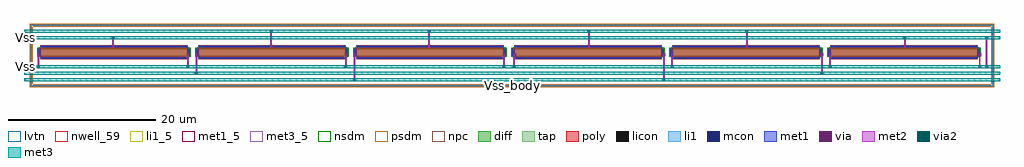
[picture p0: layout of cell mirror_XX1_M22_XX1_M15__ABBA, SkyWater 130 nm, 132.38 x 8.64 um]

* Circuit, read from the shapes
.subckt mirror_XX1_M22_XX1_M15__ABBA Vss Vss_body net4 x1_net7 x1_net8
XM1 Vss Vss Vss Vss_body sky130_fd_pr__nfet_01v8_lvt w=1 l=20 m=2
XM2 Vss net4 x1_net7 Vss_body sky130_fd_pr__nfet_01v8_lvt w=1 l=20 m=2
XM3 Vss net4 x1_net8 Vss_body sky130_fd_pr__nfet_01v8_lvt w=1 l=20 m=2
.ends

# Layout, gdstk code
from math import pi, radians
import gdstk
lib = gdstk.Library(unit=1e-6, precision=1e-09)
def R(c, l, rs):  # rectangles x0, y0, x1, y1
    for r in rs: c.add(gdstk.rectangle(r[:2], r[2:], *l))
def A(c, l, x, y, w, h, nx, ny, dx, dy):  # array of equal rectangles
    R(c, l, [(x+i*dx, y+j*dy, x+i*dx+w, y+j*dy+h) for i in range(nx) for j in range(ny)])
nwell_59 = (64, 59)
diff = (65, 20)
tap = (65, 44)
poly = (66, 20)
licon = (66, 44)
li1_5 = (67, 5)
li1 = (67, 20)
mcon = (67, 44)
met1_5 = (68, 5)
met1 = (68, 20)
via = (68, 44)
met2 = (69, 20)
via2 = (69, 44)
met3_5 = (70, 5)
met3 = (70, 20)
nsdm = (93, 44)
psdm = (94, 20)
npc = (95, 20)
lvtn = (125, 44)

sky130_fd_pr__nfet_01v8_ = lib.new_cell('sky130_fd_pr__nfet_01v8_lvt_YRHGMU')
R(sky130_fd_pr__nfet_01v8_, diff, [(-10.29,-0.5,10.29,0.5)])
R(sky130_fd_pr__nfet_01v8_, poly, [(-10,-0.94,10,0.94)])
A(sky130_fd_pr__nfet_01v8_, licon, -9.775, -0.86, 0.17, 0.17, 58, 2, 0.34, 1.55)
A(sky130_fd_pr__nfet_01v8_, licon, -10.23, -0.425, 0.17, 0.17, 1, 3, 0, 0.34)
A(sky130_fd_pr__nfet_01v8_, licon, 10.06, -0.425, 0.17, 0.17, 1, 3, 0, 0.34)
R(sky130_fd_pr__nfet_01v8_, li1, [(-10,-0.86,10,-0.69), (-10.23,-0.52,-10.06,0.52), (10.06,-0.52,10.23,0.52), (-10,0.69,10,0.86)])
A(sky130_fd_pr__nfet_01v8_, mcon, -9.805, -0.86, 0.17, 0.17, 55, 2, 0.36, 1.55)
R(sky130_fd_pr__nfet_01v8_, mcon, [(-10.23,-0.265,-10.06,-0.095), (10.06,-0.265,10.23,-0.095), (-10.23,0.095,-10.06,0.265), (10.06,0.095,10.23,0.265)])
R(sky130_fd_pr__nfet_01v8_, met1, [(-9.98,-0.89,9.98,-0.66), (-10.26,-0.5,-10.03,0.5), (10.03,-0.5,10.26,0.5), (-9.98,0.66,9.98,0.89)])
R(sky130_fd_pr__nfet_01v8_, nsdm, [(-10.415,-0.625,10.415,0.625)])
R(sky130_fd_pr__nfet_01v8_, npc, [(-9.875,-0.96,9.875,-0.59), (-9.875,0.59,9.875,0.96)])
R(sky130_fd_pr__nfet_01v8_, lvtn, [(-10.18,-0.68,10.18,0.68)])
sky130_fd_pr__nfet_01v8_.add(gdstk.Label('D', (-10.145,0), layer=67, texttype=5))
sky130_fd_pr__nfet_01v8_.add(gdstk.Label('S', (10.145,0), layer=67, texttype=5))
sky130_fd_pr__nfet_01v8_.add(gdstk.Label('G', (0,0.775), layer=67, texttype=5))

nfet_01v8_lvt_w1_l20_m2_ = lib.new_cell('nfet_01v8_lvt_W1_L20_m2__nf1_gboth_sdfull_ng')
R(nfet_01v8_lvt_w1_l20_m2_, nwell_59, [(0.05,0.89,0.15,0.99)])
R(nfet_01v8_lvt_w1_l20_m2_, met1_5, [(0.03,0.94,0.26,1.14), (20.32,0.94,20.55,1.14), (0.31,1.6,20.27,1.83)])
R(nfet_01v8_lvt_w1_l20_m2_, met1, [(0.03,0.94,0.26,1.14), (20.32,0.94,20.55,1.14), (0.31,1.6,20.27,1.83)])
nfet_01v8_lvt_w1_l20_m2_.add(gdstk.Reference(sky130_fd_pr__nfet_01v8_, (10.29,0.94)))
nfet_01v8_lvt_w1_l20_m2_.add(gdstk.Label('D', (0.145,1.04), layer=68, texttype=5))
nfet_01v8_lvt_w1_l20_m2_.add(gdstk.Label('S', (20.435,1.04), layer=68, texttype=5))
nfet_01v8_lvt_w1_l20_m2_.add(gdstk.Label('G', (10.29,1.715), layer=68, texttype=5))
nfet_01v8_lvt_w1_l20_m2_.add(gdstk.Label('B', (0.1,0.94), layer=64, texttype=59))

mirror_xx1_m22_xx1_m15__ = lib.new_cell('mirror_XX1_M22_XX1_M15__ABBA')
R(mirror_xx1_m22_xx1_m15__, tap, [(-0.885,-3.685,129.665,-3.515), (-0.885,-3.515,-0.715,4.535), (129.495,-3.515,129.665,4.535), (-0.885,4.535,129.665,4.705)])
A(mirror_xx1_m22_xx1_m15__, licon, -0.465, -3.685, 0.17, 0.17, 382, 2, 0.34, 8.22)
A(mirror_xx1_m22_xx1_m15__, licon, -0.885, -3.315, 0.17, 0.17, 1, 23, 0, 0.34)
A(mirror_xx1_m22_xx1_m15__, licon, 129.495, -3.315, 0.17, 0.17, 1, 23, 0, 0.34)
R(mirror_xx1_m22_xx1_m15__, li1_5, [(64.34,-3.65,64.44,-3.55)])
R(mirror_xx1_m22_xx1_m15__, li1, [(-0.885,-3.685,129.665,-3.515), (-0.885,-3.515,-0.715,4.535), (129.495,-3.515,129.665,4.535), (-0.885,4.535,129.665,4.705)])
A(mirror_xx1_m22_xx1_m15__, met1, 10.11, 1.63, 0.36, 0.36, 3, 1, 21.43, 0)
A(mirror_xx1_m22_xx1_m15__, met1, 74.65, 1.63, 0.36, 0.36, 3, 1, 21.43, 0)
R(mirror_xx1_m22_xx1_m15__, met1, [(-0.035,0.44,0.325,0.8), (20.255,0.44,20.615,0.8), (21.395,0.44,21.755,0.8), (41.685,0.44,42.045,0.8), (42.825,0.44,43.185,0.8), (63.115,0.44,63.475,0.8), (64.505,0.44,64.865,0.8), (84.795,0.44,85.155,0.8), (85.935,0.44,86.295,0.8), (106.225,0.44,106.585,0.8), (107.365,0.44,107.725,0.8), (127.655,0.44,128.015,0.8)])
A(mirror_xx1_m22_xx1_m15__, via, 10.215, 1.735, 0.15, 0.15, 3, 1, 21.43, 0)
A(mirror_xx1_m22_xx1_m15__, via, 74.755, 1.735, 0.15, 0.15, 3, 1, 21.43, 0)
R(mirror_xx1_m22_xx1_m15__, via, [(0.07,0.545,0.22,0.695), (20.36,0.545,20.51,0.695), (21.5,0.545,21.65,0.695), (41.79,0.545,41.94,0.695), (42.93,0.545,43.08,0.695), (63.22,0.545,63.37,0.695), (64.61,0.545,64.76,0.695), (84.9,0.545,85.05,0.695), (86.04,0.545,86.19,0.695), (106.33,0.545,106.48,0.695), (107.47,0.545,107.62,0.695), (127.76,0.545,127.91,0.695)])
A(mirror_xx1_m22_xx1_m15__, met2, 20.235, -1.2, 0.4, 0.4, 3, 1, 21.43, 0)
A(mirror_xx1_m22_xx1_m15__, met2, 64.485, -1.2, 0.4, 0.4, 3, 1, 21.43, 0)
A(mirror_xx1_m22_xx1_m15__, met2, 20.335, -0.8, 0.2, 1.26, 3, 1, 21.43, 0)
A(mirror_xx1_m22_xx1_m15__, met2, 64.585, -0.8, 0.2, 1.26, 3, 1, 21.43, 0)
A(mirror_xx1_m22_xx1_m15__, met2, 10.16, 1.65, 0.26, 0.32, 3, 1, 21.43, 0)
A(mirror_xx1_m22_xx1_m15__, met2, 74.7, 1.65, 0.26, 0.32, 3, 1, 21.43, 0)
R(mirror_xx1_m22_xx1_m15__, met2, [(42.805,-3,43.205,-2.6), (84.775,-3,85.175,-2.6), (42.905,-2.6,43.105,0.46), (84.875,-2.6,85.075,0.46), (21.375,-2.1,21.775,-1.7), (106.205,-2.1,106.605,-1.7), (21.475,-1.7,21.675,0.46), (106.305,-1.7,106.505,0.46), (-0.055,-1.2,0.345,-0.8), (127.635,-1.2,128.035,-0.8), (128.58,-1.2,128.98,-0.8), (0.045,-0.8,0.245,0.46), (127.735,-0.8,127.935,0.46), (128.68,-0.8,128.88,2.72), (0.015,0.46,0.275,0.78), (20.305,0.46,20.565,0.78), (21.445,0.46,21.705,0.78), (41.735,0.46,41.995,0.78), (42.875,0.46,43.135,0.78), (63.165,0.46,63.425,0.78), (64.555,0.46,64.815,0.78), (84.845,0.46,85.105,0.78), (85.985,0.46,86.245,0.78), (106.275,0.46,106.535,0.78), (107.415,0.46,107.675,0.78), (127.705,0.46,127.965,0.78), (10.19,1.97,10.39,2.72), (31.62,1.97,31.82,3.62), (53.05,1.97,53.25,3.62), (74.73,1.97,74.93,3.62), (96.16,1.97,96.36,3.62), (117.59,1.97,117.79,2.72), (10.09,2.72,10.49,3.12), (117.49,2.72,117.89,3.12), (128.58,2.72,128.98,3.12), (31.52,3.62,31.92,4.02), (52.95,3.62,53.35,4.02), (74.63,3.62,75.03,4.02), (96.06,3.62,96.46,4.02)])
A(mirror_xx1_m22_xx1_m15__, via2, 20.335, -1.1, 0.2, 0.2, 3, 1, 21.43, 0)
A(mirror_xx1_m22_xx1_m15__, via2, 64.585, -1.1, 0.2, 0.2, 3, 1, 21.43, 0)
R(mirror_xx1_m22_xx1_m15__, via2, [(42.905,-2.9,43.105,-2.7), (84.875,-2.9,85.075,-2.7), (21.475,-2,21.675,-1.8), (106.305,-2,106.505,-1.8), (0.045,-1.1,0.245,-0.9), (127.735,-1.1,127.935,-0.9), (128.68,-1.1,128.88,-0.9), (10.19,2.82,10.39,3.02), (117.59,2.82,117.79,3.02), (128.68,2.82,128.88,3.02), (31.62,3.72,31.82,3.92), (53.05,3.72,53.25,3.92), (74.73,3.72,74.93,3.92), (96.16,3.72,96.36,3.92)])
A(mirror_xx1_m22_xx1_m15__, met3_5, -1.7, -2.85, 0.1, 0.1, 1, 3, 0, 0.9)
R(mirror_xx1_m22_xx1_m15__, met3_5, [(-1.7,2.87,-1.6,2.97), (-1.7,3.77,-1.6,3.87)])
A(mirror_xx1_m22_xx1_m15__, met3, -1.8, -3, 132.38, 0.4, 1, 3, 0, 0.9)
R(mirror_xx1_m22_xx1_m15__, met3, [(-1.8,2.72,130.58,3.12), (-1.8,3.62,130.58,4.02)])
R(mirror_xx1_m22_xx1_m15__, psdm, [(-1.01,-3.81,129.79,-3.39), (-1.01,-3.39,-0.59,4.41), (129.37,-3.39,129.79,4.41), (-1.01,4.41,129.79,4.83)])
mirror_xx1_m22_xx1_m15__.add(gdstk.Reference(nfet_01v8_lvt_w1_l20_m2_, (127.86,0), rotation=pi, x_reflection=True))
mirror_xx1_m22_xx1_m15__.add(gdstk.Reference(nfet_01v8_lvt_w1_l20_m2_, (106.43,0), rotation=pi, x_reflection=True))
mirror_xx1_m22_xx1_m15__.add(gdstk.Reference(nfet_01v8_lvt_w1_l20_m2_, (85,0), rotation=pi, x_reflection=True))
mirror_xx1_m22_xx1_m15__.add(gdstk.Reference(nfet_01v8_lvt_w1_l20_m2_, (42.99,0)))
mirror_xx1_m22_xx1_m15__.add(gdstk.Reference(nfet_01v8_lvt_w1_l20_m2_, (21.56,0)))
mirror_xx1_m22_xx1_m15__.add(gdstk.Reference(nfet_01v8_lvt_w1_l20_m2_, (0.13,0)))
mirror_xx1_m22_xx1_m15__.add(gdstk.Label('Vss', (-1.65,2.92), layer=70, texttype=5))
mirror_xx1_m22_xx1_m15__.add(gdstk.Label('net4', (-1.65,3.82), layer=70, texttype=5))
mirror_xx1_m22_xx1_m15__.add(gdstk.Label('Vss', (-1.65,-1), layer=70, texttype=5))
mirror_xx1_m22_xx1_m15__.add(gdstk.Label('x1_net7', (-1.65,-1.9), layer=70, texttype=5))
mirror_xx1_m22_xx1_m15__.add(gdstk.Label('x1_net8', (-1.65,-2.8), layer=70, texttype=5))
mirror_xx1_m22_xx1_m15__.add(gdstk.Label('Vss_body', (64.39,-3.6), layer=67, texttype=5))

lib.write_gds('mirror_XX1_M22_XX1_M15__ABBA.gds')
